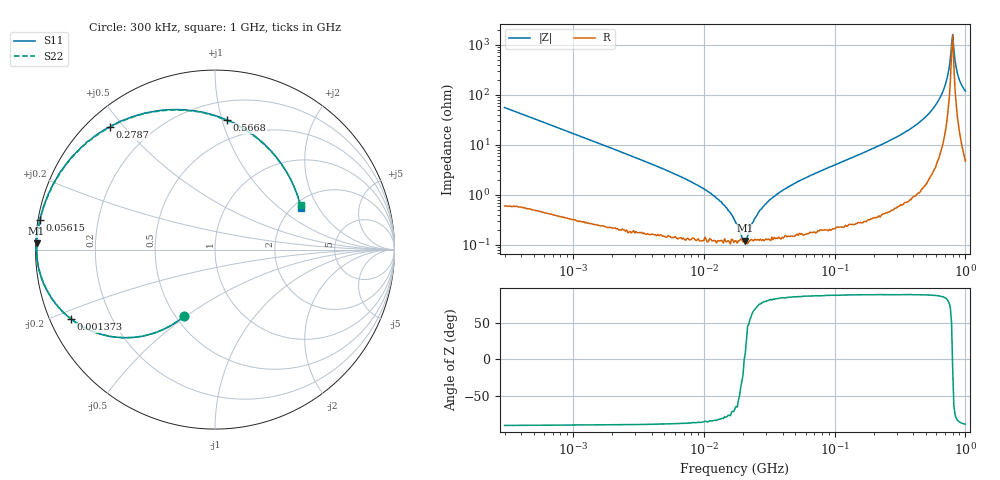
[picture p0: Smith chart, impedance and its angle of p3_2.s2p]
#  HZ  S  RI  R  50
! Rohde & Schwarz ZVA/B
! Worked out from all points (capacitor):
!   401 points, 300 kHz to 1 GHz, reference 50 ohm
!   read as one part in shunt: C = 9.52 nF near 312.4 kHz
!   lowest |Z| = 121 mohm at 20.79 MHz (marker M1)
!   series resonance near 20.37 MHz, so ESL is about 6.4 nH
!   S11 on the Smith chart (normalised r, x): 300 kHz: 0.55, -0.49; 1.373 MHz: 0.06, -0.23; 56.15 MHz: 0.00, +0.09; 278.7 MHz: 0.06, +0.46; 566.8 MHz: 0.34, +1.03; 1 GHz: 2.20, +1.43
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300000  -0.1729 -0.3721  0.8301 -0.3717  0.8311 -0.3719  -0.1725 -0.3702
610060.8  -0.4533 -0.4892  0.5471 -0.4908  0.5472 -0.4913  -0.4526 -0.4887
1167356  -0.7465 -0.4246  0.2541 -0.4264  0.2542 -0.4265  -0.7458 -0.4239
1372970  -0.8013 -0.3875  0.199 -0.3898  0.1989 -0.39  -0.8006 -0.387
4542403  -0.9759 -0.1322  0.0249 -0.1391  0.0248 -0.1391  -0.9745 -0.131
1.10867e7  -0.9939 -0.0257  0.00637 -0.0433  0.0059 -0.0437  -0.9927 -0.024
1.443098e7  -0.9949 -0.000128  0.00529 -0.0239  0.00471 -0.0238  -0.9942 0.00139
1.732051e7  -0.9956 0.0166  0.00463 -0.0111  0.00486 -0.0112  -0.9931 0.0179
1.956157e7  -0.996 0.0313  0.00491 -0.00297  0.00449 -0.00302  -0.9939 0.0302
2.078861e7  -0.9944 0.0342  0.00479 0.000612  0.00489 0.00149  -0.9935 0.0356
2.495113e7  -0.9933 0.0544  0.00577 0.0131  0.00569 0.0134  -0.9916 0.0562
2.994711e7  -0.9932 0.0752  0.00719 0.0254  0.00665 0.0257  -0.9881 0.0765
3.89806e7  -0.9863 0.1089  0.0103 0.0454  0.0112 0.0453  -0.9852 0.1125
5.615366e7  -0.9766 0.1676  0.0199 0.0765  0.0204 0.0769  -0.9732 0.1698
6.739735e7  -0.9661 0.204  0.0273 0.0948  0.027 0.0954  -0.9638 0.2069
1.486358e8  -0.8613 0.4346  0.1109 0.1972  0.1107 0.197  -0.8553 0.4366
2.622557e8  -0.6252 0.6619  0.2863 0.251  0.2865 0.2505  -0.6172 0.6629
2.787062e8  -0.5866 0.6835  0.3128 0.2495  0.313 0.2491  -0.578 0.685
4.097164e8  -0.2677 0.7787  0.516 0.1602  0.5163 0.1601  -0.2627 0.7763
5.667591e8  0.0646 0.723  0.6599 -0.0767  0.6595 -0.0774  0.0662 0.7196
7.52834e8  0.3282 0.5317  0.6361 -0.4097  0.6366 -0.4086  0.3231 0.5357
1e9  0.4787 0.2326  0.3554 -0.7376  0.3563 -0.7387  0.4764 0.2472
